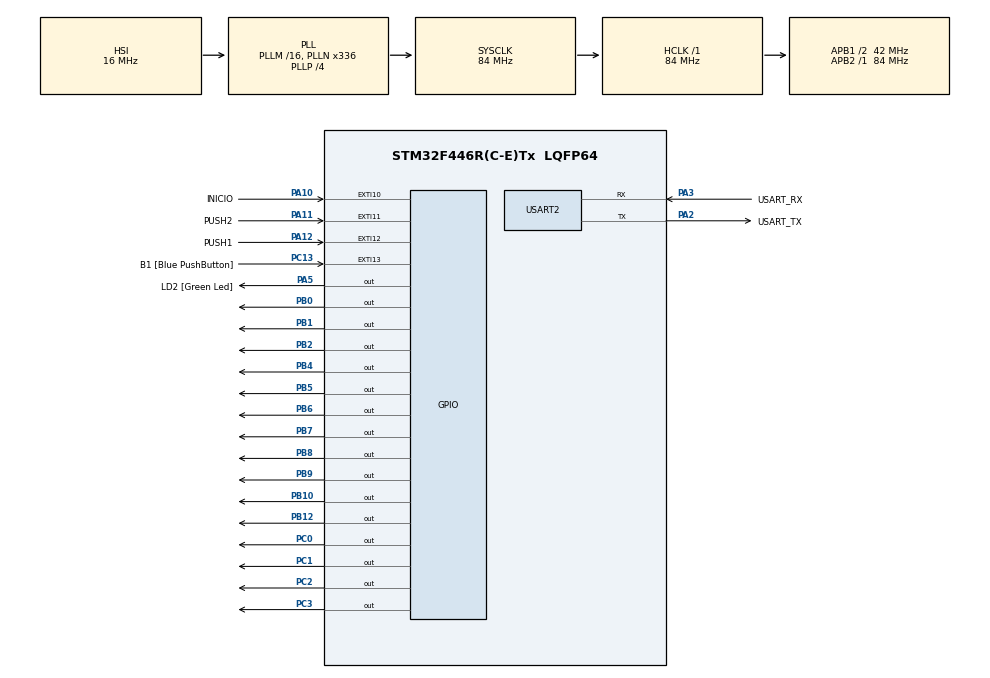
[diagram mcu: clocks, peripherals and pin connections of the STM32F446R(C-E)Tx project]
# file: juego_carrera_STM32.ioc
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Mcu.Family=STM32F4
Mcu.Name=STM32F446R(C-E)Tx
Mcu.Package=LQFP64
NVIC.EXTI15_10_IRQn=true\:0\:0\:false\:false\:true\:true\:true\:true
NVIC.PriorityGroup=NVIC_PRIORITYGROUP_0
PA10.GPIO_Label=INICIO
PA10.GPIO_ModeDefaultEXTI=GPIO_MODE_IT_FALLING
PA10.GPIO_PuPd=GPIO_PULLUP
PA10.Signal=GPXTI10
PA11.GPIO_Label=PUSH2
PA11.GPIO_ModeDefaultEXTI=GPIO_MODE_IT_FALLING
PA11.GPIO_PuPd=GPIO_PULLUP
PA11.Signal=GPXTI11
PA12.GPIO_Label=PUSH1
PA12.GPIO_ModeDefaultEXTI=GPIO_MODE_IT_FALLING
PA12.GPIO_PuPd=GPIO_PULLUP
PA12.Signal=GPXTI12
PA13.GPIO_Label=TMS
PA13.Mode=Serial_Wire
PA13.Signal=SYS_JTMS-SWDIO
PA14.GPIO_Label=TCK
PA14.Mode=Serial_Wire
PA14.Signal=SYS_JTCK-SWCLK
PA2.GPIO_Label=USART_TX
PA2.Mode=Asynchronous
PA2.Signal=USART2_TX
PA3.GPIO_Label=USART_RX
PA3.Mode=Asynchronous
PA3.Signal=USART2_RX
PA5.GPIO_Label=LD2 [Green Led]
PA5.Signal=GPIO_Output
PB0.Signal=GPIO_Output
PB1.Signal=GPIO_Output
PB10.Signal=GPIO_Output
PB12.Signal=GPIO_Output
PB2.Signal=GPIO_Output
PB3.GPIO_Label=SWO
PB3.Signal=SYS_JTDO-SWO
PB4.Signal=GPIO_Output
PB5.Signal=GPIO_Output
PB6.Signal=GPIO_Output
PB7.Signal=GPIO_Output
PB8.Signal=GPIO_Output
PB9.Signal=GPIO_Output
PC0.Signal=GPIO_Output
PC1.Signal=GPIO_Output
PC13.GPIO_Label=B1 [Blue PushButton]
PC13.GPIO_ModeDefaultEXTI=GPIO_MODE_IT_FALLING
PC13.Signal=GPXTI13
PC14-OSC32_IN.Mode=LSE-External-Oscillator
PC14-OSC32_IN.Signal=RCC_OSC32_IN
PC15-OSC32_OUT.Mode=LSE-External-Oscillator
PC15-OSC32_OUT.Signal=RCC_OSC32_OUT
PC2.Signal=GPIO_Output
PC3.Signal=GPIO_Output
PH0-OSC_IN.Mode=HSE-External-Oscillator
PH0-OSC_IN.Signal=RCC_OSC_IN
PH1-OSC_OUT.Mode=HSE-External-Oscillator
PH1-OSC_OUT.Signal=RCC_OSC_OUT
ProjectManager.HeapSize=0x200
ProjectManager.StackSize=0x400
ProjectManager.TargetToolchain=STM32CubeIDE
RCC.48MHZClocksFreq_Value=84000000
RCC.AHBFreq_Value=84000000
RCC.APB1CLKDivider=RCC_HCLK_DIV2
RCC.APB1Freq_Value=42000000
RCC.APB1TimFreq_Value=84000000
RCC.APB2Freq_Value=84000000
RCC.APB2TimFreq_Value=84000000
RCC.CortexFreq_Value=84000000
RCC.FLatency-AdvancedSettings=FLASH_LATENCY_2
RCC.HCLKFreq_Value=84000000
RCC.HSE_VALUE=8000000
RCC.HSI_VALUE=16000000
RCC.PLLN=336
RCC.PLLP=RCC_PLLP_DIV4
RCC.SYSCLKFreq_VALUE=84000000
RCC.SYSCLKSource=RCC_SYSCLKSOURCE_PLLCLK
RCC.USBFreq_Value=168000000
RCC.VCOOutputFreq_Value=336000000
USART2.VirtualMode=VM_ASYNC
board=NUCLEO-F446RE

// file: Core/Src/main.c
/* USER CODE BEGIN Header */
/**
  ******************************************************************************
  * @file           : main.c
  * @brief          : Main program body
  ******************************************************************************
  * @attention
  *
  * Copyright (c) 2026 STMicroelectronics.
  * All rights reserved.
  *
  * This software is licensed under terms that can be found in the LICENSE file
  * in the root directory of this software component.
  * If no LICENSE file comes with this software, it is provided AS-IS.
  *
  ******************************************************************************
  */
/* USER CODE END Header */
#include "main.h"

/* USER CODE BEGIN Includes */
#include "stdint.h"
/* USER CODE END Includes */

UART_HandleTypeDef huart2;

/* USER CODE BEGIN PV */
volatile uint8_t JG1 = 0;
volatile uint8_t JG2 = 0;
volatile uint8_t flag = 0;
volatile uint8_t INC = 0;
volatile uint8_t DISPFLAG = 0;
volatile uint8_t PLAYFLAG = 0;
/* USER CODE END PV */

void SystemClock_Config(void);
static void MX_GPIO_Init(void);
static void MX_USART2_UART_Init(void);

int main(void)
{

  /* MCU Configuration--------------------------------------------------------*/

  /* Reset of all peripherals, Initializes the Flash interface and the Systick. */
  HAL_Init();

  /* Configure the system clock */
  SystemClock_Config();

  /* Initialize all configured peripherals */
  MX_GPIO_Init();
  MX_USART2_UART_Init();

  /* Infinite loop */
  /* USER CODE BEGIN WHILE */
  while (1)
  {
	  //Muestra 5 hasta que el usuario presione el boton de iniciar
	  if((!DISPFLAG) | (INC == 0)){
		  	  HAL_GPIO_WritePin(GPIOB, GPIO_PIN_5, 0);
		  	  HAL_GPIO_WritePin(GPIOB, GPIO_PIN_6, 1);
		  	  HAL_GPIO_WritePin(GPIOB, GPIO_PIN_7, 0);
		  	  HAL_GPIO_WritePin(GPIOB, GPIO_PIN_8, 0);
		  	  HAL_GPIO_WritePin(GPIOB, GPIO_PIN_9, 1);
		  	  HAL_GPIO_WritePin(GPIOB, GPIO_PIN_10, 0);
		  	  HAL_GPIO_WritePin(GPIOB, GPIO_PIN_12, 0);
	  }
	  //muestra 4 cuando INC es 1
	  if((INC == 1) && DISPFLAG){
			  HAL_GPIO_WritePin(GPIOB, GPIO_PIN_5, 1);
			  HAL_GPIO_WritePin(GPIOB, GPIO_PIN_6, 0);
			  HAL_GPIO_WritePin(GPIOB, GPIO_PIN_7, 0);
			  HAL_GPIO_WritePin(GPIOB, GPIO_PIN_8, 1);
			  HAL_GPIO_WritePin(GPIOB, GPIO_PIN_9, 1);
			  HAL_GPIO_WritePin(GPIOB, GPIO_PIN_10, 0);
			  HAL_GPIO_WritePin(GPIOB, GPIO_PIN_12, 0);
	  }
	  //muestra 3 cuando inc es 2
	  else if((INC == 2) && DISPFLAG){
		  	  HAL_GPIO_WritePin(GPIOB, GPIO_PIN_5, 0);
		  	  HAL_GPIO_WritePin(GPIOB, GPIO_PIN_6, 0);
		  	  HAL_GPIO_WritePin(GPIOB, GPIO_PIN_7, 0);
		  	  HAL_GPIO_WritePin(GPIOB, GPIO_PIN_8, 0);
		  	  HAL_GPIO_WritePin(GPIOB, GPIO_PIN_9, 1);
		  	  HAL_GPIO_WritePin(GPIOB, GPIO_PIN_10, 1);
		  	  HAL_GPIO_WritePin(GPIOB, GPIO_PIN_12, 0);

	  }
	  //muestra 2 cuando inc es 3
	  else if((INC == 3) && DISPFLAG){
	  		  HAL_GPIO_WritePin(GPIOB, GPIO_PIN_5, 0);
	  		  HAL_GPIO_WritePin(GPIOB, GPIO_PIN_6, 0);
	  		  HAL_GPIO_WritePin(GPIOB, GPIO_PIN_7, 1);
	  		  HAL_GPIO_WritePin(GPIOB, GPIO_PIN_8, 0);
	  		  HAL_GPIO_WritePin(GPIOB, GPIO_PIN_9, 0);
	  		  HAL_GPIO_WritePin(GPIOB, GPIO_PIN_10, 1);
	  		  HAL_GPIO_WritePin(GPIOB, GPIO_PIN_12, 0);

	  }
	  //muestra 1 cuando inc es 4
	  else if((INC == 4) && DISPFLAG){
	  	  	  HAL_GPIO_WritePin(GPIOB, GPIO_PIN_5, 1);
	  	  	  HAL_GPIO_WritePin(GPIOB, GPIO_PIN_6, 0);
	  	  	  HAL_GPIO_WritePin(GPIOB, GPIO_PIN_7, 0);
	  	  	  HAL_GPIO_WritePin(GPIOB, GPIO_PIN_8, 1);
	  	  	  HAL_GPIO_WritePin(GPIOB, GPIO_PIN_9, 1);
	  	  	  HAL_GPIO_WritePin(GPIOB, GPIO_PIN_10, 1);
	  	  	  HAL_GPIO_WritePin(GPIOB, GPIO_PIN_12, 1);

	  }
	  //muestra 0 inc es 5
	  else if((INC == 5) && DISPFLAG){
		  	  PLAYFLAG = 1;
	  	  	  HAL_GPIO_WritePin(GPIOB, GPIO_PIN_5, 0);
	  	  	  HAL_GPIO_WritePin(GPIOB, GPIO_PIN_6, 0);
	  	  	  HAL_GPIO_WritePin(GPIOB, GPIO_PIN_7, 0);
	  	  	  HAL_GPIO_WritePin(GPIOB, GPIO_PIN_8, 0);
	  	  	  HAL_GPIO_WritePin(GPIOB, GPIO_PIN_9, 0);
	  	  	  HAL_GPIO_WritePin(GPIOB, GPIO_PIN_10, 0);
	  	  	  HAL_GPIO_WritePin(GPIOB, GPIO_PIN_12, 1);
	  }
	  if(DISPFLAG){
	  INC++;
	  }
	  HAL_Delay(1000);
    /* USER CODE END WHILE */

  }
}

void SystemClock_Config(void)
{
  RCC_OscInitTypeDef RCC_OscInitStruct = {0};
  RCC_ClkInitTypeDef RCC_ClkInitStruct = {0};

  /** Configure the main internal regulator output voltage
  */
  __HAL_RCC_PWR_CLK_ENABLE();
  __HAL_PWR_VOLTAGESCALING_CONFIG(PWR_REGULATOR_VOLTAGE_SCALE3);

  /** Initializes the RCC Oscillators according to the specified parameters
  * in the RCC_OscInitTypeDef structure.
  */
  RCC_OscInitStruct.OscillatorType = RCC_OSCILLATORTYPE_HSI;
  RCC_OscInitStruct.HSIState = RCC_HSI_ON;
  RCC_OscInitStruct.HSICalibrationValue = RCC_HSICALIBRATION_DEFAULT;
  RCC_OscInitStruct.PLL.PLLState = RCC_PLL_ON;
  RCC_OscInitStruct.PLL.PLLSource = RCC_PLLSOURCE_HSI;
  RCC_OscInitStruct.PLL.PLLM = 16;
  RCC_OscInitStruct.PLL.PLLN = 336;
  RCC_OscInitStruct.PLL.PLLP = RCC_PLLP_DIV4;
  RCC_OscInitStruct.PLL.PLLQ = 2;
  RCC_OscInitStruct.PLL.PLLR = 2;
  if (HAL_RCC_OscConfig(&RCC_OscInitStruct) != HAL_OK)
  {
    Error_Handler();
  }

  /** Initializes the CPU, AHB and APB buses clocks
  */
  RCC_ClkInitStruct.ClockType = RCC_CLOCKTYPE_HCLK|RCC_CLOCKTYPE_SYSCLK
                              |RCC_CLOCKTYPE_PCLK1|RCC_CLOCKTYPE_PCLK2;
  RCC_ClkInitStruct.SYSCLKSource = RCC_SYSCLKSOURCE_PLLCLK;
  RCC_ClkInitStruct.AHBCLKDivider = RCC_SYSCLK_DIV1;
  RCC_ClkInitStruct.APB1CLKDivider = RCC_HCLK_DIV2;
  RCC_ClkInitStruct.APB2CLKDivider = RCC_HCLK_DIV1;

  if (HAL_RCC_ClockConfig(&RCC_ClkInitStruct, FLASH_LATENCY_2) != HAL_OK)
  {
    Error_Handler();
  }
}

static void MX_USART2_UART_Init(void)
{

  huart2.Instance = USART2;
  huart2.Init.BaudRate = 115200;
  huart2.Init.WordLength = UART_WORDLENGTH_8B;
  huart2.Init.StopBits = UART_STOPBITS_1;
  huart2.Init.Parity = UART_PARITY_NONE;
  huart2.Init.Mode = UART_MODE_TX_RX;
  huart2.Init.HwFlowCtl = UART_HWCONTROL_NONE;
  huart2.Init.OverSampling = UART_OVERSAMPLING_16;
  if (HAL_UART_Init(&huart2) != HAL_OK)
  {
    Error_Handler();
  }

}

static void MX_GPIO_Init(void)
{
  GPIO_InitTypeDef GPIO_InitStruct = {0};

  /* GPIO Ports Clock Enable */
  __HAL_RCC_GPIOC_CLK_ENABLE();
  __HAL_RCC_GPIOH_CLK_ENABLE();
  __HAL_RCC_GPIOA_CLK_ENABLE();
  __HAL_RCC_GPIOB_CLK_ENABLE();

  /*Configure GPIO pin Output Level */
  HAL_GPIO_WritePin(GPIOC, GPIO_PIN_0|GPIO_PIN_1|GPIO_PIN_2|GPIO_PIN_3, GPIO_PIN_RESET);

  /*Configure GPIO pin Output Level */
  HAL_GPIO_WritePin(LD2_GPIO_Port, LD2_Pin, GPIO_PIN_RESET);

  /*Configure GPIO pin Output Level */
  HAL_GPIO_WritePin(GPIOB, GPIO_PIN_0|GPIO_PIN_1|GPIO_PIN_2|GPIO_PIN_10
                          |GPIO_PIN_12|GPIO_PIN_4|GPIO_PIN_5|GPIO_PIN_6
                          |GPIO_PIN_7|GPIO_PIN_8|GPIO_PIN_9, GPIO_PIN_RESET);

  /*Configure GPIO pin : B1_Pin */
  GPIO_InitStruct.Pin = B1_Pin;
  GPIO_InitStruct.Mode = GPIO_MODE_IT_FALLING;
  GPIO_InitStruct.Pull = GPIO_NOPULL;
  HAL_GPIO_Init(B1_GPIO_Port, &GPIO_InitStruct);

  /*Configure GPIO pins : PC0 PC1 PC2 PC3 */
  GPIO_InitStruct.Pin = GPIO_PIN_0|GPIO_PIN_1|GPIO_PIN_2|GPIO_PIN_3;
  GPIO_InitStruct.Mode = GPIO_MODE_OUTPUT_PP;
  GPIO_InitStruct.Pull = GPIO_NOPULL;
  GPIO_InitStruct.Speed = GPIO_SPEED_FREQ_LOW;
  HAL_GPIO_Init(GPIOC, &GPIO_InitStruct);

  /*Configure GPIO pin : LD2_Pin */
  GPIO_InitStruct.Pin = LD2_Pin;
  GPIO_InitStruct.Mode = GPIO_MODE_OUTPUT_PP;
  GPIO_InitStruct.Pull = GPIO_NOPULL;
  GPIO_InitStruct.Speed = GPIO_SPEED_FREQ_LOW;
  HAL_GPIO_Init(LD2_GPIO_Port, &GPIO_InitStruct);

  /*Configure GPIO pins : PB0 PB1 PB2 PB10
                           PB12 PB4 PB5 PB6
                           PB7 PB8 PB9 */
  GPIO_InitStruct.Pin = GPIO_PIN_0|GPIO_PIN_1|GPIO_PIN_2|GPIO_PIN_10
                          |GPIO_PIN_12|GPIO_PIN_4|GPIO_PIN_5|GPIO_PIN_6
                          |GPIO_PIN_7|GPIO_PIN_8|GPIO_PIN_9;
  GPIO_InitStruct.Mode = GPIO_MODE_OUTPUT_PP;
  GPIO_InitStruct.Pull = GPIO_NOPULL;
  GPIO_InitStruct.Speed = GPIO_SPEED_FREQ_LOW;
  HAL_GPIO_Init(GPIOB, &GPIO_InitStruct);

  /*Configure GPIO pins : INICIO_Pin PUSH2_Pin PUSH1_Pin */
  GPIO_InitStruct.Pin = INICIO_Pin|PUSH2_Pin|PUSH1_Pin;
  GPIO_InitStruct.Mode = GPIO_MODE_IT_FALLING;
  GPIO_InitStruct.Pull = GPIO_PULLUP;
  HAL_GPIO_Init(GPIOA, &GPIO_InitStruct);

  /* EXTI interrupt init*/
  HAL_NVIC_SetPriority(EXTI15_10_IRQn, 0, 0);
  HAL_NVIC_EnableIRQ(EXTI15_10_IRQn);

}

/* USER CODE BEGIN 4 */
void HAL_GPIO_EXTI_Callback(uint16_t GPIO_Pin){
 if(GPIO_Pin == PUSH1_Pin){
	 if((flag == 0) && (PLAYFLAG == 1)){
	 JG1++;
	 }
	 if((JG2 < 4 && JG1 < 4) ){
		 if(JG1 == 1){
			 HAL_GPIO_WritePin(GPIOC, GPIO_PIN_0, 1);
			 HAL_GPIO_WritePin(GPIOC, GPIO_PIN_1, 0);
			 HAL_GPIO_WritePin(GPIOC, GPIO_PIN_2, 0);
			 HAL_GPIO_WritePin(GPIOC, GPIO_PIN_3, 0);
		 }
		 else if(JG1 == 2){
			 HAL_GPIO_WritePin(GPIOC, GPIO_PIN_0, 0);
			 HAL_GPIO_WritePin(GPIOC, GPIO_PIN_1, 1);
			 HAL_GPIO_WritePin(GPIOC, GPIO_PIN_2, 0);
			 HAL_GPIO_WritePin(GPIOC, GPIO_PIN_3, 0);
		 }
		 else if(JG1 == 3){
			 HAL_GPIO_WritePin(GPIOC, GPIO_PIN_0, 0);
			 HAL_GPIO_WritePin(GPIOC, GPIO_PIN_1, 0);
			 HAL_GPIO_WritePin(GPIOC, GPIO_PIN_2, 1);
			 HAL_GPIO_WritePin(GPIOC, GPIO_PIN_3, 0);
		 }
		 else if(JG1 == 4){
			 HAL_GPIO_WritePin(GPIOC, GPIO_PIN_0, 0);
			 HAL_GPIO_WritePin(GPIOC, GPIO_PIN_1, 0);
			 HAL_GPIO_WritePin(GPIOC, GPIO_PIN_2, 0);
			 HAL_GPIO_WritePin(GPIOC, GPIO_PIN_3, 1);
		 }
	 }
	 else if(JG1 == 4){
		 flag = 1;
		 HAL_GPIO_WritePin(GPIOC, GPIO_PIN_0, 1);
		 HAL_GPIO_WritePin(GPIOC, GPIO_PIN_1, 1);
		 HAL_GPIO_WritePin(GPIOC, GPIO_PIN_2, 1);
		 HAL_GPIO_WritePin(GPIOC, GPIO_PIN_3, 1);
		 //apagar el contrincario
		 HAL_GPIO_WritePin(GPIOB, GPIO_PIN_0, 0);
		 HAL_GPIO_WritePin(GPIOB, GPIO_PIN_1, 0);
		 HAL_GPIO_WritePin(GPIOB, GPIO_PIN_2, 0);
		 HAL_GPIO_WritePin(GPIOB, GPIO_PIN_4, 0);
		 //DISP gano jugador 1
		 HAL_GPIO_WritePin(GPIOB, GPIO_PIN_5, 1);
		 HAL_GPIO_WritePin(GPIOB, GPIO_PIN_6, 0);
		 HAL_GPIO_WritePin(GPIOB, GPIO_PIN_7, 0);
		 HAL_GPIO_WritePin(GPIOB, GPIO_PIN_8, 1);
		 HAL_GPIO_WritePin(GPIOB, GPIO_PIN_9, 1);
		 HAL_GPIO_WritePin(GPIOB, GPIO_PIN_10, 1);
		 HAL_GPIO_WritePin(GPIOB, GPIO_PIN_12, 1);

	 }
 }
 else if(GPIO_Pin == PUSH2_Pin){
	 if(flag == 0 && (PLAYFLAG == 1)){
	 JG2++;
	 }
	 if((JG2 < 4 && JG1 < 4 && PLAYFLAG)){
		 if(JG2 == 1){
			 HAL_GPIO_WritePin(GPIOB, GPIO_PIN_0, 1);
			 HAL_GPIO_WritePin(GPIOB, GPIO_PIN_1, 0);
			 HAL_GPIO_WritePin(GPIOB, GPIO_PIN_2, 0);
			 HAL_GPIO_WritePin(GPIOB, GPIO_PIN_4, 0);
		 }
		 else if(JG2 == 2){
			 HAL_GPIO_WritePin(GPIOB, GPIO_PIN_0, 0);
			 HAL_GPIO_WritePin(GPIOB, GPIO_PIN_1, 1);
			 HAL_GPIO_WritePin(GPIOB, GPIO_PIN_2, 0);
			 HAL_GPIO_WritePin(GPIOB, GPIO_PIN_4, 0);
		 }
		 else if(JG2 == 3){
			 HAL_GPIO_WritePin(GPIOB, GPIO_PIN_0, 0);
			 HAL_GPIO_WritePin(GPIOB, GPIO_PIN_1, 0);
			 HAL_GPIO_WritePin(GPIOB, GPIO_PIN_2, 1);
			 HAL_GPIO_WritePin(GPIOB, GPIO_PIN_4, 0);
		 }
		 else if(JG2 == 4){
			 HAL_GPIO_WritePin(GPIOB, GPIO_PIN_0, 0);
			 HAL_GPIO_WritePin(GPIOB, GPIO_PIN_1, 0);
			 HAL_GPIO_WritePin(GPIOB, GPIO_PIN_2, 0);
			 HAL_GPIO_WritePin(GPIOB, GPIO_PIN_4, 1);
		 }
	 }
	 else if(JG2 == 4){
		 flag = 1;
		 HAL_GPIO_WritePin(GPIOB, GPIO_PIN_0, 1);
		 HAL_GPIO_WritePin(GPIOB, GPIO_PIN_1, 1);
		 HAL_GPIO_WritePin(GPIOB, GPIO_PIN_2, 1);
		 HAL_GPIO_WritePin(GPIOB, GPIO_PIN_4, 1);
		 //apagar al contrincario
		 HAL_GPIO_WritePin(GPIOC, GPIO_PIN_0, 0);
		 HAL_GPIO_WritePin(GPIOC, GPIO_PIN_1, 0);
		 HAL_GPIO_WritePin(GPIOC, GPIO_PIN_2, 0);
		 HAL_GPIO_WritePin(GPIOC, GPIO_PIN_3, 0);
		 //display gano JG2
		 HAL_GPIO_WritePin(GPIOB, GPIO_PIN_5, 0);
		 HAL_GPIO_WritePin(GPIOB, GPIO_PIN_6, 0);
		 HAL_GPIO_WritePin(GPIOB, GPIO_PIN_7, 1);
		 HAL_GPIO_WritePin(GPIOB, GPIO_PIN_8, 0);
		 HAL_GPIO_WritePin(GPIOB, GPIO_PIN_9, 0);
		 HAL_GPIO_WritePin(GPIOB, GPIO_PIN_10, 1);
		 HAL_GPIO_WritePin(GPIOB, GPIO_PIN_12, 0);
	 }
 }
 else if(GPIO_Pin == INICIO_Pin){
	 PLAYFLAG = 0;
	 DISPFLAG = 1;
	 JG1 = 0;
	 JG2 = 0;
	 INC = 0;
	 flag = 0;
	 //APAGAMOS LOS LEDS DEL JUGADOR 1
	 HAL_GPIO_WritePin(GPIOC, GPIO_PIN_0, 0);
	 HAL_GPIO_WritePin(GPIOC, GPIO_PIN_1, 0);
	 HAL_GPIO_WritePin(GPIOC, GPIO_PIN_2, 0);
	 HAL_GPIO_WritePin(GPIOC, GPIO_PIN_3, 0);
	 //APAGAMOS LOS LEDS DEL JUGADOR 2
	 HAL_GPIO_WritePin(GPIOB, GPIO_PIN_0, 0);
	 HAL_GPIO_WritePin(GPIOB, GPIO_PIN_1, 0);
	 HAL_GPIO_WritePin(GPIOB, GPIO_PIN_2, 0);
	 HAL_GPIO_WritePin(GPIOB, GPIO_PIN_4, 0);
 }
}
/* USER CODE END 4 */

void Error_Handler(void)
{
  __disable_irq();
  while (1)
  {
  }
}
